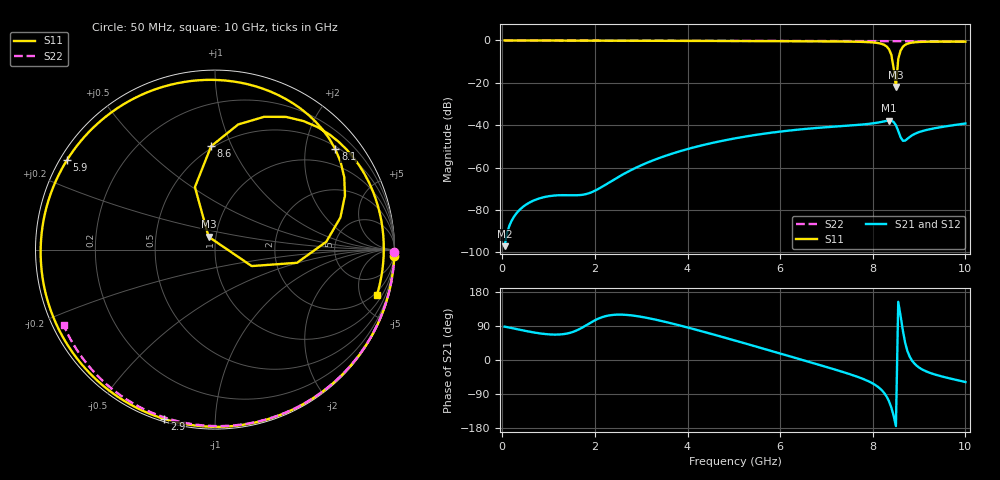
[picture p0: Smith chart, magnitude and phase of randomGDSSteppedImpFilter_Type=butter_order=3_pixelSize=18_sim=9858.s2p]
! freq	dB(S11)	phase(S11)	dB(S12)	phase(S12)
!  dB(S21)	phase(S21)	dB(S22)	phase(S22)
!S-par simulation data
#  GHz  S  DB  R 50
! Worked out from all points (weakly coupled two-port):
!   200 points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, 50 MHz to 10 GHz, reference 50 ohm
!   highest |S21| = -37.76 dB at 8.35 GHz (marker M1); lowest = -97.0 dB at 50 MHz (marker M2)
!   lowest |S11| = -21.9 dB at 8.5 GHz (marker M3), VSWR 1.17, Z = 46.1 + j6.64 ohm
!   |S11| at or under -10 dB: 8.426 GHz to 8.545 GHz (118.9 MHz wide, 1.4 % of centre)
!   |S22| runs from -0.5 to 0.0 dB; largest |S21 - S12| = 0
!   S11 on the Smith chart (normalised r, x): 50 MHz: 1, -58; 2.9 GHz: 0.01, -0.74; 5.9 GHz: 0.02, +0.28; 8.1 GHz: 0.56, +2.66; 8.6 GHz: 0.49, +0.84; 10 GHz: 1.64, -6.83
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0.05  -0.00 -2.0  -97.03 88.0  -97.03 88.0  -0.00 -0.9
0.35  -0.02 -13.6  -80.42 80.5  -80.42 80.5  -0.01 -6.2
0.95  -0.04 -36.6  -73.67 68.2  -73.67 68.2  -0.02 -16.8
1.75  -0.08 -66.2  -72.72 87.1  -72.72 87.1  -0.04 -30.6
2.9  -0.13 -106.6  -59.88 115.9  -59.88 115.9  -0.06 -50.0
3.4  -0.15 -123.6  -55.37 104.0  -55.37 104.0  -0.08 -58.1
4.25  -0.20 -152.3  -49.80 77.7  -49.80 77.7  -0.10 -71.6
5.05  -0.25 -179.9  -46.08 50.5  -46.08 50.5  -0.13 -83.9
5.9  -0.32 148.8  -43.26 20.7  -43.26 20.7  -0.17 -96.4
6.7  -0.40 116.2  -41.43 -7.7  -41.43 -7.7  -0.21 -107.9
7.5  -0.55 78.6  -40.13 -37.2  -40.13 -37.2  -0.26 -119.1
8.1  -1.18 39.8  -38.78 -69.7  -38.78 -69.7  -0.31 -127.4
8.35  -4.13 4.0  -37.76 -108.8  -37.76 -108.8  -0.34 -130.8
8.4  -6.69 -9.1  -37.83 -125.1  -37.83 -125.1  -0.34 -131.5
8.45  -12.98 -24.1  -38.44 -146.9  -38.44 -146.9  -0.35 -132.2
8.5  -21.93 116.6  -40.02 -174.3  -40.02 -174.3  -0.35 -132.9
8.55  -8.73 107.8  -42.67 153.6  -42.67 153.6  -0.36 -133.6
8.6  -4.79 92.1  -45.61 116.9  -45.61 116.9  -0.36 -134.2
8.75  -1.53 61.8  -46.37 22.8  -46.37 22.8  -0.38 -136.3
9.05  -0.66 33.4  -42.86 -23.8  -42.86 -23.8  -0.41 -140.4
9.45  -0.53 10.0  -40.96 -42.1  -40.96 -42.1  -0.45 -145.9
10  -0.57 -15.8  -39.17 -58.1  -39.17 -58.1  -0.52 -153.6
